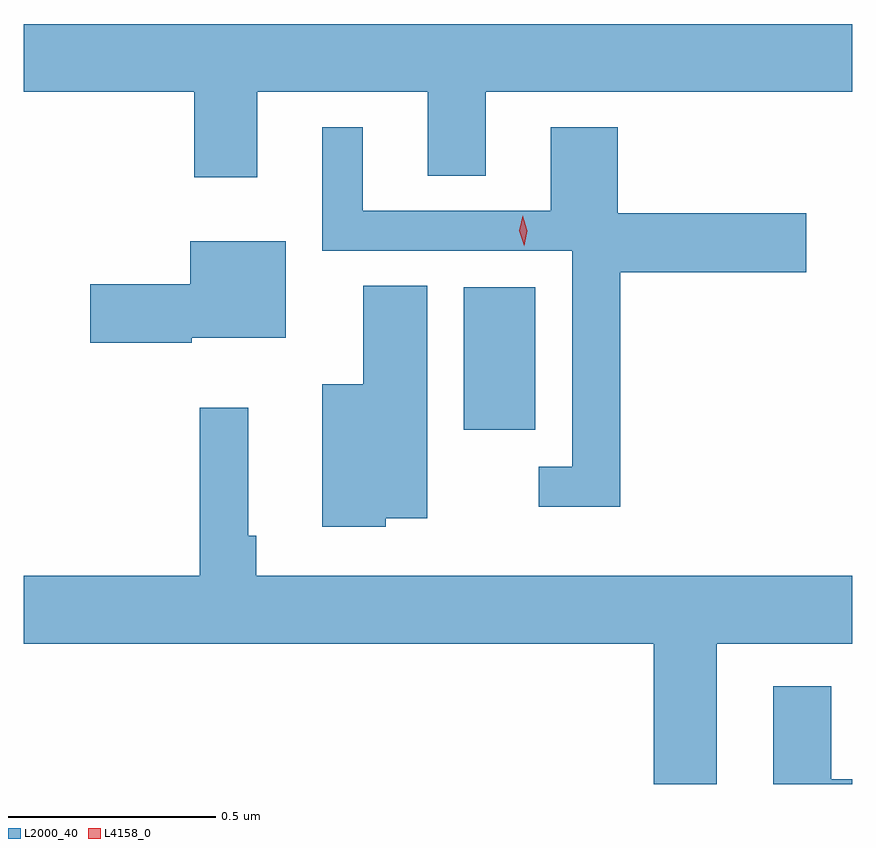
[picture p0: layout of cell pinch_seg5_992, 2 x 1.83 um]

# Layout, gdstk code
import gdstk
lib = gdstk.Library(unit=1e-6, precision=1e-09)
def R(c, l, rs):  # rectangles x0, y0, x1, y1
    for r in rs: c.add(gdstk.rectangle(r[:2], r[2:], *l))
def P(c, l, *ps):  # polygons
    for p in ps: c.add(gdstk.Polygon(p, *l))
L2000_40 = (2000, 40)
L4158_0 = (4158, 0)

pinch_seg5_992 = lib.new_cell('pinch_seg5_992')
R(pinch_seg5_992, L2000_40, [(745.88,882.584,746.053,882.928)])
P(pinch_seg5_992, L2000_40, [(745.381,883.4),(745.793,883.4),(745.793,883.198),(745.933,883.198),(745.933,883.4),(746.818,883.4),(746.818,883.564),(744.818,883.564),(744.818,883.4),(745.229,883.4),(745.229,883.194),(745.381,883.194)],
  [(746.258,882.965),(746.707,882.965),(746.707,883.107),(746.252,883.107),(746.252,883.315),(746.09,883.315),(746.09,883.113),(745.636,883.113),(745.636,883.315),(745.538,883.315),(745.538,883.017),(746.142,883.017),(746.142,882.495),(746.061,882.495),(746.061,882.398),(746.258,882.398)],
  [(745.224,882.806),(745.45,882.806),(745.45,883.039),(745.22,883.039),(745.22,882.936),(744.978,882.936),(744.978,882.794),(745.224,882.794)],
  [(745.692,882.371),(745.792,882.371),(745.792,882.932),(745.637,882.932),(745.637,882.694),(745.538,882.694),(745.538,882.35),(745.692,882.35)],
  [(746.491,882.068),(746.818,882.068),(746.818,882.232),(745.379,882.232),(745.379,882.328),(745.36,882.328),(745.36,882.637),(745.243,882.637),(745.243,882.232),(744.818,882.232),(744.818,882.068),(746.339,882.068),(746.339,881.729),(746.491,881.729)],
  [(746.818,881.74),(746.767,881.74),(746.767,881.965),(746.627,881.965),(746.627,881.729),(746.818,881.729)])
P(pinch_seg5_992, L4158_0, [(746.026,883.029),(746.026,883.029),(746.014,883.065),(746.023,883.101),(746.023,883.101),(746.023,883.101),(746.034,883.065),(746.026,883.029)])

lib.write_gds('pinch_seg5_992.gds')
